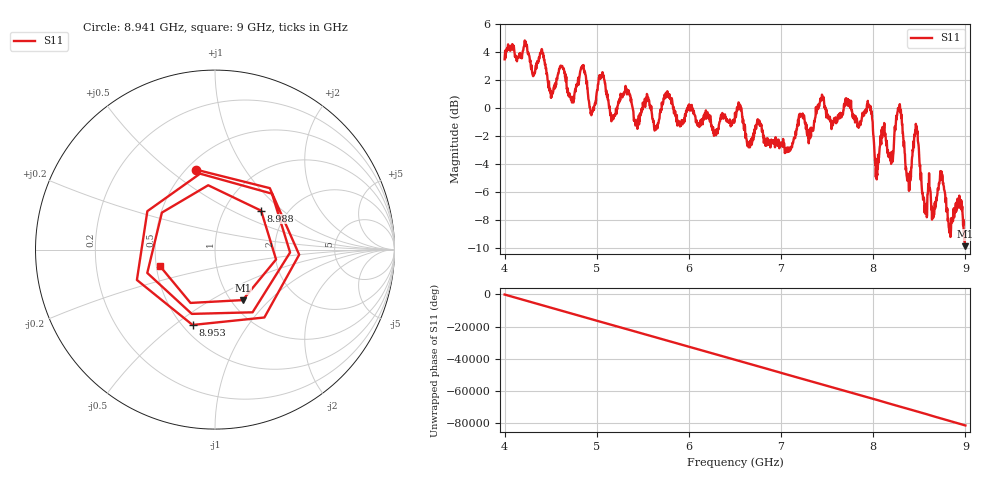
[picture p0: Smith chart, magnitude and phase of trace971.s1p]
! Created with skrf 1.8.0 (http://scikit-rf.org).
# Hz S RI R 50.0
!freq ReS11 ImS11
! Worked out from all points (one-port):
!   1601 points, 4 GHz to 9 GHz, reference 50 ohm
!   lowest |S11| = -9.9 dB at 8.994 GHz (marker M1), VSWR 1.94, Z = 56.4 - j35.4 ohm
!   |S11| at or under -10 dB: nowhere
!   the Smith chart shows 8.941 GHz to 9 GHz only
!   S11 on the Smith chart (normalised r, x): 8.941 GHz: 0.56, +0.63; 8.953 GHz: 0.56, -0.58; 8.988 GHz: 1.48, +0.72; 9 GHz: 0.52, -0.10
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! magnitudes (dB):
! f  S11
! 4 GHz  3.5
! 4.406 GHz  4.2
! 4.509 GHz  0.8
! 4.625 GHz  3.0
! 4.731 GHz  0.4
! 4.853 GHz  3.0
! 4.944 GHz  -0.5
! 5.05 GHz  2.3
! 5.166 GHz  -0.6
! 5.25 GHz  0.5
! 5.875 GHz  -1.3
! 6.5 GHz  -0.3
! 7.125 GHz  -2.5
! 7.75 GHz  0.3
! 7.959 GHz  0.2
! 8.041 GHz  -4.7
! 8.109 GHz  -1.4
! 8.2 GHz  -3.4
! 8.284 GHz  0.1
! 8.375 GHz  -4.7
! 8.469 GHz  -1.6
! 8.559 GHz  -7.0
! 8.738 GHz  -4.8
! 8.941 GHz  -6.8
! 8.953 GHz  -7.2
! 8.988 GHz  -9.5
! 8.994 GHz  -9.9
! 9 GHz  -9.9
